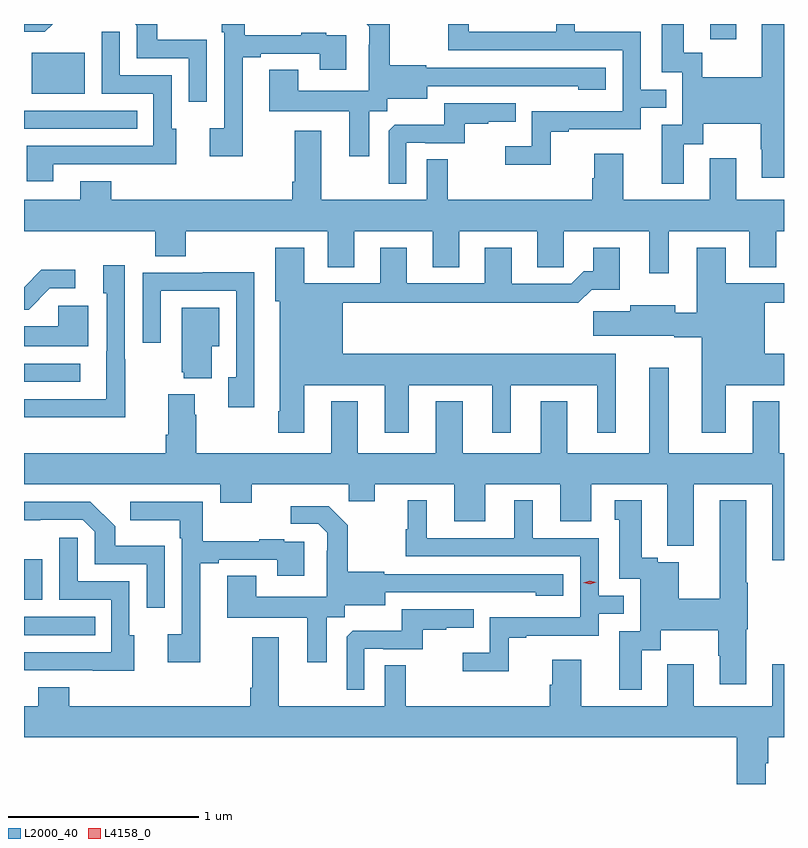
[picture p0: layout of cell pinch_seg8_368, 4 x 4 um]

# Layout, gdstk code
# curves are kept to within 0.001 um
import gdstk
lib = gdstk.Library(unit=1e-6, precision=1e-09)
def R(c, l, rs):  # rectangles x0, y0, x1, y1
    for r in rs: c.add(gdstk.rectangle(r[:2], r[2:], *l))
def P(c, l, *ps):  # polygons
    for p in ps: c.add(gdstk.Polygon(p, *l))
L2000_40 = (2000, 40)
L4158_0 = (4158, 0)

pinch_seg8_368 = lib.new_cell('pinch_seg8_368')
R(pinch_seg8_368, L2000_40, [(396.933,1121.034,397.307,1121.13), (396.933,1121.219,397.03,1121.434), (396.933,1122.366,397.228,1122.462), (396.933,1123.698,397.529,1123.794), (396.974,1123.883,397.252,1124.098), (400.544,1124.169,400.681,1124.25)])
P(pinch_seg8_368, L2000_40, [(397.083,1124.25),(396.933,1124.25),(396.933,1124.208),(397.041,1124.208)],
  [(398.749,1123.792),(398.844,1123.792),(398.844,1123.856),(399.055,1123.856),(399.055,1123.923),(399.849,1123.922),(399.849,1123.904),(399.994,1123.904),(399.994,1124.019),(399.051,1124.019),(399.051,1124.032),(398.859,1124.032),(398.859,1124.25),(398.736,1124.25),(398.75,1124.236),(398.75,1124.141),(398.748,1124.141),(398.748,1123.9),(398.377,1123.9),(398.377,1124.009),(398.225,1124.009),(398.225,1123.79),(398.645,1123.79),(398.645,1123.554),(398.749,1123.554)],
  [(399.705,1123.683),(399.799,1123.683),(399.799,1123.695),(400.179,1123.695),(400.179,1123.809),(400.313,1123.809),(400.313,1123.905),(400.179,1123.905),(400.179,1124.208),(399.832,1124.208),(399.832,1124.25),(399.734,1124.25),(399.734,1124.208),(399.274,1124.208),(399.274,1124.25),(399.165,1124.25),(399.165,1124.112),(400.083,1124.112),(400.083,1123.791),(399.606,1123.791),(399.606,1123.606),(399.465,1123.606),(399.465,1123.508),(399.705,1123.508)],
  [(397.896,1124.167),(397.635,1124.167),(397.635,1124.25),(397.518,1124.25),(397.527,1124.241),(397.527,1124.07),(397.8,1124.07),(397.8,1123.842),(397.896,1123.842)],
  [(398.083,1124.076),(398.179,1124.076),(398.179,1124.094),(398.489,1124.094),(398.489,1124.01),(398.629,1124.01),(398.629,1124.19),(398.525,1124.19),(398.525,1124.203),(398.393,1124.203),(398.393,1124.192),(398.095,1124.192),(398.095,1124.25),(397.974,1124.25),(397.974,1124.207),(397.986,1124.207),(397.986,1123.702),(397.911,1123.702),(397.911,1123.554),(398.083,1123.554)],
  [(400.405,1123.618),(400.507,1123.618),(400.507,1123.724),(400.81,1123.724),(400.81,1123.59),(400.817,1123.59),(400.817,1123.44),(400.933,1123.44),(400.933,1124.25),(400.817,1124.25),(400.817,1123.969),(400.503,1123.969),(400.503,1124.099),(400.405,1124.099),(400.405,1124.25),(400.289,1124.25),(400.289,1123.995),(400.398,1123.995),(400.398,1123.719),(400.289,1123.719),(400.289,1123.41),(400.405,1123.41)],
  [(397.087,1123.512),(397.517,1123.512),(397.517,1123.511),(397.735,1123.511),(397.735,1123.698),(397.71,1123.698),(397.71,1123.98),(397.437,1123.98),(397.437,1124.209),(397.341,1124.209),(397.341,1123.884),(397.614,1123.884),(397.614,1123.608),(396.947,1123.608),(396.947,1123.422),(397.087,1123.422)],
  [(398.946,1123.626),(399.046,1123.626),(399.046,1123.623),(399.254,1123.623),(399.254,1123.725),(399.377,1123.725),(399.377,1123.736),(399.521,1123.736),(399.521,1123.833),(399.144,1123.833),(399.144,1123.721),(398.885,1123.721),(398.853,1123.689),(398.853,1123.409),(398.946,1123.409)],
  [(400.327,1123.16),(400.751,1123.16),(400.751,1122.97),(400.891,1122.97),(400.891,1123.16),(400.933,1123.16),(400.933,1123.324),(400.681,1123.324),(400.681,1123.543),(400.541,1123.543),(400.541,1123.324),(400.087,1123.324),(400.087,1123.567),(399.935,1123.567),(399.935,1123.437),(399.923,1123.437),(399.923,1123.324),(399.163,1123.324),(399.163,1123.538),(399.054,1123.538),(399.054,1123.324),(398.497,1123.324),(398.497,1123.687),(398.357,1123.687),(398.357,1123.42),(398.345,1123.42),(398.345,1123.324),(397.393,1123.324),(397.393,1123.423),(397.229,1123.423),(397.229,1123.324),(396.933,1123.324),(396.933,1123.16),(397.625,1123.16),(397.625,1123.027),(397.785,1123.027),(397.785,1123.16),(398.531,1123.16),(398.531,1122.97),(398.671,1122.97),(398.671,1123.16),(399.083,1123.16),(399.083,1122.97),(399.223,1122.97),(399.223,1123.16),(399.635,1123.16),(399.635,1122.97),(399.774,1122.97),(399.774,1123.16),(400.223,1123.16),(400.223,1122.939),(400.327,1122.939)],
  [(398.407,1122.35),(398.831,1122.35),(398.831,1122.099),(398.959,1122.099),(398.959,1122.35),(399.398,1122.35),(399.398,1122.099),(399.496,1122.099),(399.496,1122.35),(399.95,1122.35),(399.95,1122.099),(400.048,1122.099),(400.048,1122.514),(398.611,1122.514),(398.611,1122.784),(399.595,1122.784),(399.595,1122.782),(399.851,1122.782),(399.92,1122.851),(400.069,1122.851),(400.069,1123.072),(399.929,1123.072),(399.929,1122.949),(399.88,1122.949),(399.813,1122.882),(399.499,1122.882),(399.499,1123.072),(399.359,1123.072),(399.359,1122.885),(398.947,1122.885),(398.947,1123.072),(398.807,1123.072),(398.807,1122.885),(398.407,1122.885),(398.407,1123.072),(398.255,1123.072),(398.255,1122.792),(398.279,1122.792),(398.279,1122.211),(398.272,1122.211),(398.272,1122.099),(398.407,1122.099)],
  [(400.627,1122.35),(400.933,1122.35),(400.933,1122.514),(400.831,1122.514),(400.831,1122.784),(400.933,1122.784),(400.933,1122.885),(400.627,1122.885),(400.627,1123.072),(400.475,1123.072),(400.475,1122.73),(400.36,1122.73),(400.36,1122.769),(400.124,1122.769),(400.124,1122.737),(399.93,1122.737),(399.93,1122.608),(400.356,1122.608),(400.356,1122.601),(400.499,1122.601),(400.499,1122.099),(400.627,1122.099)],
  [(397.467,1122.485),(397.464,1122.485),(397.464,1122.979),(397.349,1122.979),(397.349,1122.834),(397.368,1122.834),(397.368,1122.527),(397.367,1122.527),(397.367,1122.276),(396.933,1122.276),(396.933,1122.18),(397.003,1122.18),(397.003,1122.179),(397.467,1122.179)],
  [(397.069,1122.858),(397.204,1122.858),(397.204,1122.956),(397.025,1122.956),(396.933,1122.864),(396.933,1122.747),(396.958,1122.747)],
  [(398.146,1122.692),(398.145,1122.692),(398.145,1122.944),(397.873,1122.944),(397.873,1122.942),(397.557,1122.942),(397.557,1122.573),(397.653,1122.573),(397.653,1122.846),(398.049,1122.846),(398.049,1122.39),(398.009,1122.39),(398.009,1122.234),(398.146,1122.234)],
  [(397.27,1122.766),(397.113,1122.766),(397.113,1122.658),(396.933,1122.658),(396.933,1122.554),(397.27,1122.554)],
  [(397.921,1122.554),(397.96,1122.554),(397.96,1122.757),(397.763,1122.757),(397.763,1122.417),(397.775,1122.417),(397.775,1122.386),(397.921,1122.386)],
  [(397.839,1122.194),(397.831,1122.194),(397.831,1122.301),(397.691,1122.301),(397.691,1122.088),(397.679,1122.088),(397.679,1121.992),(396.933,1121.992),(396.933,1121.828),(397.967,1121.828),(397.967,1121.729),(398.131,1121.729),(398.131,1121.828),(398.641,1121.828),(398.641,1121.738),(398.779,1121.738),(398.779,1121.828),(399.197,1121.828),(399.197,1121.634),(399.361,1121.634),(399.361,1121.828),(399.755,1121.828),(399.755,1121.634),(399.919,1121.634),(399.919,1121.828),(400.319,1121.828),(400.319,1121.505),(400.459,1121.505),(400.459,1121.828),(400.871,1121.828),(400.871,1121.427),(400.933,1121.427),(400.933,1121.992),(400.909,1121.992),(400.909,1122.265),(400.769,1122.265),(400.769,1121.992),(400.327,1121.992),(400.327,1122.442),(400.223,1122.442),(400.223,1121.992),(399.793,1121.992),(399.793,1122.265),(399.653,1122.265),(399.653,1121.992),(399.241,1121.992),(399.241,1122.265),(399.101,1122.265),(399.101,1121.992),(398.689,1121.992),(398.689,1122.265),(398.549,1122.265),(398.549,1121.992),(397.839,1121.992)],
  [(399.483,1121.019),(399.577,1121.019),(399.577,1121.031),(399.957,1121.031),(399.957,1121.145),(400.09,1121.145),(400.09,1121.241),(399.957,1121.241),(399.957,1121.544),(399.61,1121.544),(399.61,1121.743),(399.512,1121.743),(399.512,1121.544),(399.052,1121.544),(399.052,1121.743),(398.954,1121.743),(398.954,1121.592),(398.943,1121.592),(398.943,1121.448),(399.861,1121.448),(399.861,1121.127),(399.384,1121.127),(399.384,1120.942),(399.243,1120.942),(399.243,1120.844),(399.483,1120.844)],
  [(400.183,1120.954),(400.285,1120.954),(400.285,1121.06),(400.588,1121.06),(400.588,1120.926),(400.595,1120.926),(400.595,1120.776),(400.735,1120.776),(400.735,1121.064),(400.743,1121.064),(400.743,1121.308),(400.735,1121.308),(400.735,1121.743),(400.595,1121.743),(400.595,1121.225),(400.378,1121.225),(400.378,1121.416),(400.269,1121.416),(400.269,1121.44),(400.183,1121.44),(400.183,1121.743),(400.043,1121.743),(400.043,1121.64),(400.067,1121.64),(400.067,1121.331),(400.176,1121.331),(400.176,1121.055),(400.067,1121.055),(400.067,1120.746),(400.183,1120.746)],
  [(397.861,1121.412),(397.957,1121.412),(397.957,1121.43),(398.267,1121.43),(398.267,1121.346),(398.407,1121.346),(398.407,1121.526),(398.303,1121.526),(398.303,1121.539),(398.171,1121.539),(398.171,1121.528),(397.873,1121.528),(397.873,1121.736),(397.491,1121.736),(397.491,1121.639),(397.752,1121.639),(397.752,1121.543),(397.764,1121.543),(397.764,1121.038),(397.689,1121.038),(397.689,1120.89),(397.861,1120.89)],
  [(397.674,1121.503),(397.413,1121.503),(397.413,1121.606),(397.282,1121.736),(396.933,1121.736),(396.933,1121.639),(397.242,1121.64),(397.305,1121.577),(397.305,1121.406),(397.578,1121.406),(397.578,1121.178),(397.674,1121.178)],
  [(398.527,1121.128),(398.622,1121.128),(398.622,1121.192),(398.833,1121.192),(398.833,1121.259),(399.627,1121.258),(399.627,1121.24),(399.772,1121.24),(399.772,1121.355),(398.829,1121.355),(398.829,1121.368),(398.637,1121.368),(398.637,1121.613),(398.537,1121.713),(398.337,1121.713),(398.337,1121.619),(398.481,1121.619),(398.528,1121.572),(398.528,1121.477),(398.526,1121.477),(398.526,1121.236),(398.155,1121.236),(398.155,1121.345),(398.003,1121.345),(398.003,1121.126),(398.423,1121.126),(398.423,1120.89),(398.527,1120.89)],
  [(397.513,1121.034),(397.488,1121.034),(397.488,1121.316),(397.215,1121.316),(397.215,1121.545),(397.119,1121.545),(397.119,1121.22),(397.392,1121.22),(397.392,1120.944),(396.933,1120.944),(396.933,1120.848),(397.295,1120.848),(397.295,1120.847),(397.513,1120.847)],
  [(398.724,1120.962),(398.824,1120.962),(398.824,1120.959),(399.032,1120.959),(399.032,1121.061),(399.155,1121.061),(399.155,1121.072),(399.299,1121.072),(399.299,1121.169),(398.922,1121.169),(398.922,1121.057),(398.663,1121.057),(398.631,1121.025),(398.631,1120.745),(398.724,1120.745)],
  [(400.837,1120.358),(400.85,1120.358),(400.85,1120.496),(400.933,1120.496),(400.933,1120.879),(400.871,1120.879),(400.871,1120.66),(400.459,1120.66),(400.459,1120.879),(400.319,1120.879),(400.319,1120.66),(399.865,1120.66),(399.865,1120.903),(399.713,1120.903),(399.713,1120.773),(399.701,1120.773),(399.701,1120.66),(398.941,1120.66),(398.941,1120.874),(398.832,1120.874),(398.832,1120.66),(398.275,1120.66),(398.275,1121.023),(398.135,1121.023),(398.135,1120.756),(398.123,1120.756),(398.123,1120.66),(397.171,1120.66),(397.171,1120.759),(397.007,1120.759),(397.007,1120.66),(396.933,1120.66),(396.933,1120.496),(400.685,1120.496),(400.685,1120.25),(400.837,1120.25)])
P(pinch_seg8_368, L4158_0, [(399.912,1121.301),(399.877,1121.308),(399.877,1121.308),(399.877,1121.308),(399.91,1121.321),(399.945,1121.313),(399.945,1121.313),(399.945,1121.313)])

lib.write_gds('pinch_seg8_368.gds')
